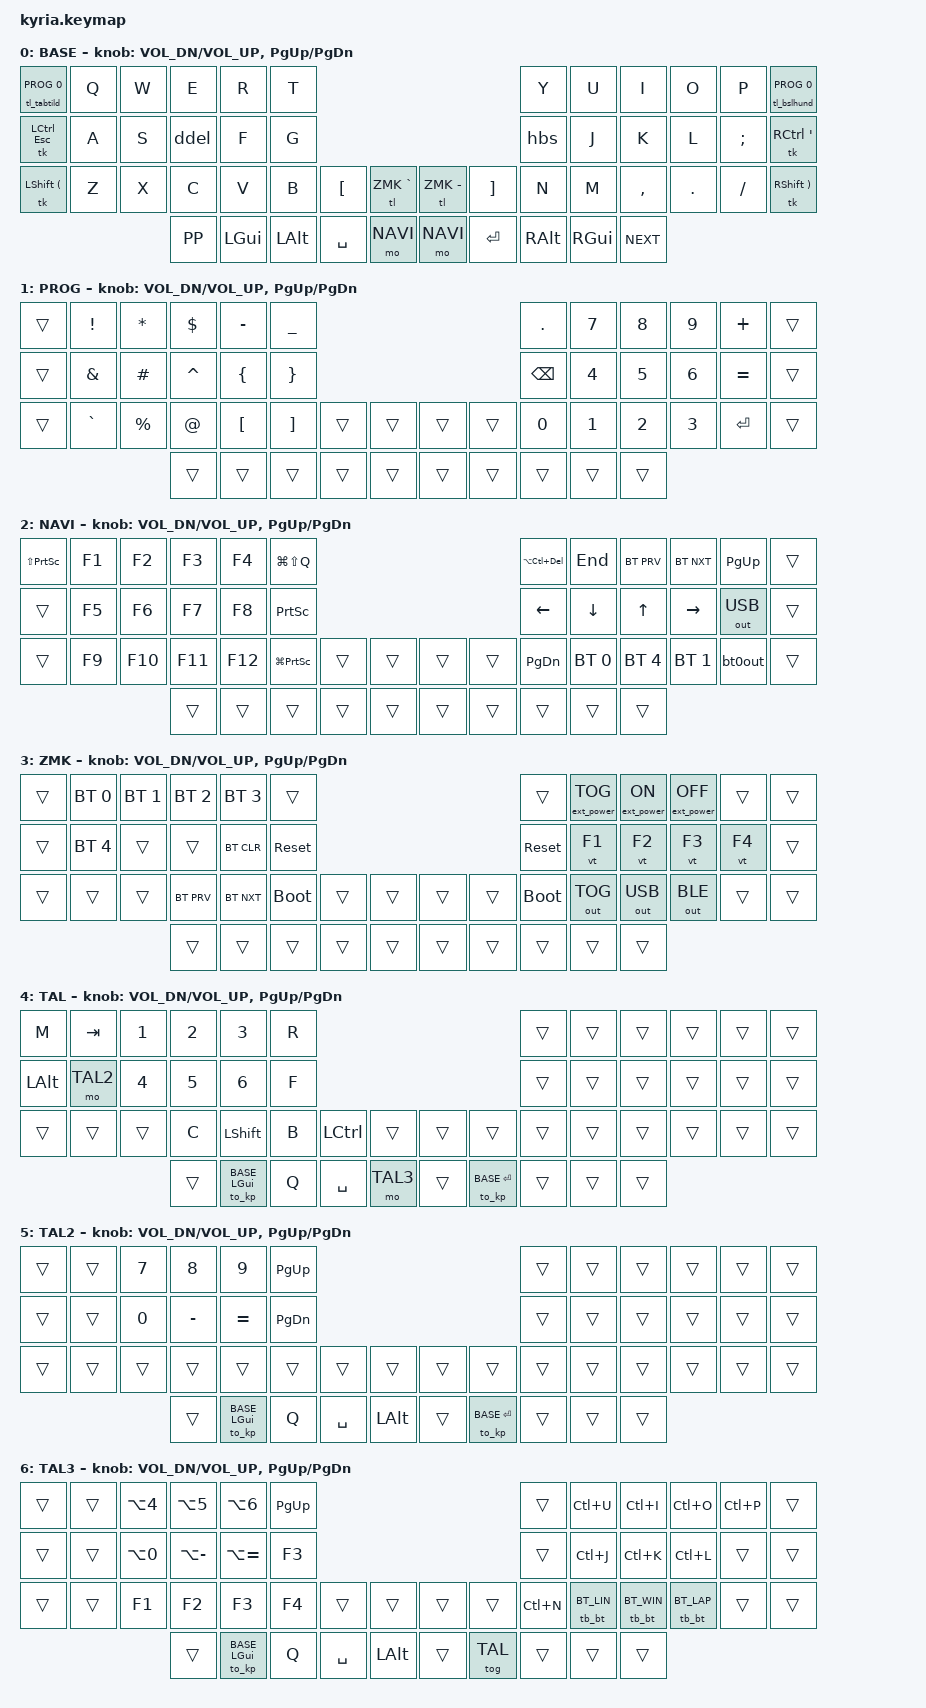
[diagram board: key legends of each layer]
/*
 * Copyright (c) 2020 The ZMK Contributors
 *
 * SPDX-License-Identifier: MIT
 */

#include <behaviors.dtsi>
#include <dt-bindings/zmk/bt.h>
#include <dt-bindings/zmk/ext_power.h>
#include <dt-bindings/zmk/keys.h>
#include <dt-bindings/zmk/outputs.h>
#include "macros.dtsi"

#define BASE 0
#define PROG 1
#define NAVI 2
#define ZMK  3
#define TAL  4
#define TAL2  5
#define TAL3  6

#define BT_LIN 0
#define BT_LAP 1
#define BT_WIN 4

#define KILL    LG(LS(Q))
#define ACD     LA(LC(DEL))
#define PSCR_SC LS(PSCRN)
#define PSCR_RT LG(PSCRN)

&sensors {
    triggers-per-rotation = <60>;
};

&caps_word {
    continue-list = <UNDERSCORE MINUS>;
};

//    ┌────┬────┬────┬────┬────┬────┐                       ┌────┬────┬────┬────┬────┬────┐
//    │ 0  │ 1  │ 2  │ 3  │ 4  │ 5  │                       │ 6  │ 7  │ 8  │ 9  │ 10 │ 11 │
//    ├────┼────┼────┼────┼────┼────┤                       ├────┼────┼────┼────┼────┼────┤
//    │ 12 │ 13 │ 14 │ 15 │ 16 │ 17 │                       │ 18 │ 19 │ 20 │ 21 │ 22 │ 23 │
//    ├────┼────┼────┼────┼────┼────┼────┬────┐   ┌────┬────┼────┼────┼────┼────┼────┼────┤
//    │ 24 │ 25 │ 26 │ 27 │ 28 │ 29 │ 30 │ 31 │   │ 32 │ 33 │ 34 │ 35 │ 36 │ 37 │ 38 │ 39 │
//    └────┴────┴────┼────┼────┼────┼────┼────┤   ├────┼────┼────┼────┼────┼────┴────┴────┘
//                   │ 40 │ 41 │ 42 │ 43 │ 44 │   │ 45 │ 46 │ 47 │ 48 │ 49 │
//                   └────┴────┴────┴────┴────┘   └────┴────┴────┴────┴────┘
/ {
    combos {
        compatible = "zmk,combos";
        // left and right parentheses `()`, when typing fast using left and right
        // shifts. Makes it hard to type )( but who would want that?
        combo_left_right_parens {
            timeout-ms = <150>;
            key-positions = <24 39>;
            bindings = <&lrpars>;
        };
        // tilde and forward slash `~/` - normaly you would nieed to use grave
        // combo with shift and then slash. We are skipping shift here
        combo_tilde_slash {
            timeout-ms = <250>;
            slow-release;
            key-positions = <0 12 38>;
            bindings = <&tildslh>;
        };
        // q; for `!=`
        combo_not_equal {
            timeout-ms = <50>;
            key-positions = <1 22>;
            bindings = <&notequal>;
        };
        // r. for `->`
        combo_arrow_gt {
            timeout-ms = <50>;
            key-positions = <4 37>;
            bindings = <&arrowgt>;
        };
        // r, for `<-`
        combo_arrow_lt {
            timeout-ms = <50>;
            key-positions = <4 36>;
            bindings = <&arrowlt>;
        };
        // e; for `:=`
        combo_colon_equal {
            timeout-ms = <50>;
            key-positions = <3 22>;
            bindings = <&coleql>;
        };
        // e. for `=>`
        combo_fat_arrow {
            timeout-ms = <50>;
            key-positions = <3 37>;
            bindings = <&fatarrow>;
        };
        // d. for `|>`
        combo_gt_pipe {
            timeout-ms = <50>;
            key-positions = <16 37>;
            bindings = <&pipegt>;
        };
        // f. for `<|`
        combo_lt_pipe {
            timeout-ms = <50>;
            key-positions = <16 36>;
            bindings = <&ltpipe>;
        };
        // left ctrl + right ctrl = caps word, not using shifts as they are
        // used to type parentheses
        combo_caps_word {
            timeout-ms = <150>;
            key-positions = <12 23>;
            bindings = <&caps_word>;
        };
        combo_lbkt_rbkt {
            timeout-ms = <150>;
            key-positions = <27 28>;
            layers = <PROG>;
            bindings = <&lrbkt>;
        };
        combo_lbrc_rbrc {
            timeout-ms = <150>;
            key-positions = <15 16>;
            layers = <PROG>;
            bindings = <&lrbrc>;
        };
        combo_tal_win {
            timeout-ms = <150>;
            key-positions = <0 5>;
            bindings = <&to_bt TAL BT_WIN>;
        };
        combo_tal_lin {
            timeout-ms = <150>;
            key-positions = <0 4>;
            bindings = <&to_bt TAL BT_LIN>;
        };
        combo_base {
            timeout-ms = <150>;
            key-positions = <0 17>;
            bindings = <&to BASE>;
        };
        combo_f15 {
            timeout-ms = <150>;
            key-positions = <19 20>;
            bindings = <&kp F15>;
        };
    };

    keymap {
        compatible = "zmk,keymap";

        BASE {
            bindings = <
//    ┌────────────┬───┬───┬───────┬──────┬──────┐                                 ┌──────┬──────┬──────┬───┬───┬──────────┐
//    │ PROG tab ~ │ Q │ W │   E   │  R   │  T   │                                 │  Y   │  U   │  I   │ O │ P │ PROG \ _ │
//    ├────────────┼───┼───┼───────┼──────┼──────┤                                 ├──────┼──────┼──────┼───┼───┼──────────┤
//    │  lctrl esc │ A │ S │ d/del │  F   │  G   │                                 │ h/bs │  J   │  K   │ L │ ; │  rctrl ' │
//    ├────────────┼───┼───┼───────┼──────┼──────┼─────┬────────┐   ┌────────┬─────┼──────┼──────┼──────┼───┼───┼──────────┤
//    │   lshft (  │ Z │ X │   C   │  V   │  B   │  [  │  ZMK ` │   │  ZMK - │  ]  │  N   │  M   │  ,   │ . │ / │  rshft ) │
//    └────────────┴───┴───┼───────┼──────┼──────┼─────┼────────┤   ├────────┼─────┼──────┼──────┼──────┼───┴───┴──────────┘
//                         │ mply  │ lgui │ lalt │ spc │  NAVI  │   │  NAVI  │ ret │ ralt │ rgui │ next │
//                         └───────┴──────┴──────┴─────┴────────┘   └────────┴─────┴──────┴──────┴──────┘
  &tl_tabtild PROG 0   &kp Q   &kp W   &kp E      &kp R      &kp T                                                                 &kp Y      &kp U      &kp I        &kp O     &kp P      &tl_bslhund PROG 0
  &tk LCTRL ESC        &kp A   &kp S   &ddel      &kp F      &kp G                                                                 &hbs       &kp J      &kp K        &kp L     &kp SEMI   &tk RCTRL SQT
  &tk LSHFT LPAR       &kp Z   &kp X   &kp C      &kp V      &kp B      &kp LBKT    &tl ZMK GRAVE       &tl ZMK MINUS   &kp RBKT   &kp N      &kp M      &kp COMMA    &kp DOT   &kp FSLH   &tk RSHFT RPAR
                                       &kp K_PP   &kp LGUI   &kp LALT   &kp SPACE   &mo NAVI            &mo NAVI        &kp RET    &kp RALT   &kp RGUI   &kp K_NEXT
            >;

            sensor-bindings = <&inc_dec_kp C_VOL_DN C_VOL_UP &inc_dec_kp PG_UP PG_DN>;
        };
        PROG {
            bindings = <
//    ┌────┬───┬───┬────┬────┬────┐                       ┌────┬────┬────┬───┬─────┬────┐
//    │    │ ! │ * │ $  │ -  │ _  │                       │ .  │ 7  │ 8  │ 9 │  +  │    │
//    ├────┼───┼───┼────┼────┼────┤                       ├────┼────┼────┼───┼─────┼────┤
//    │    │ & │ # │ ^  │ {  │ }  │                       │ bs │ 4  │ 5  │ 6 │  =  │    │
//    ├────┼───┼───┼────┼────┼────┼────┬────┐   ┌────┬────┼────┼────┼────┼───┼─────┼────┤
//    │    │ ` │ % │ @  │ [  │ ]  │    │    │   │    │    │ 0  │ 1  │ 2  │ 3 │ ret │    │
//    └────┴───┴───┼────┼────┼────┼────┼────┤   ├────┼────┼────┼────┼────┼───┴─────┴────┘
//                 │    │    │    │    │    │   │    │    │    │    │    │
//                 └────┴────┴────┴────┴────┘   └────┴────┴────┴────┴────┘
  &trans   &kp EXCL    &kp ASTRK   &kp DLLR    &kp MINUS   &kp UNDER                                           &kp DOT    &kp N7   &kp N8   &kp N9   &kp PLUS    &trans
  &trans   &kp AMPS    &kp HASH    &kp CARET   &kp LBRC    &kp RBRC                                            &kp BSPC   &kp N4   &kp N5   &kp N6   &kp EQUAL   &trans
  &trans   &kp GRAVE   &kp PRCNT   &kp AT      &kp LBKT    &kp RBKT    &trans   &trans       &trans   &trans   &kp N0     &kp N1   &kp N2   &kp N3   &kp RET     &trans
                                   &trans      &trans      &trans      &trans   &trans       &trans   &trans   &trans     &trans   &trans
            >;

            sensor-bindings = <&inc_dec_kp C_VOL_DN C_VOL_UP &inc_dec_kp PG_UP PG_DN>;
        };
        NAVI {
            bindings = <
//    ┌─────────┬────┬─────┬─────┬─────┬─────────┐                       ┌──────┬───────┬───────┬───────┬─────────┬────┐
//    │ PSCR_SC │ f1 │ f2  │ f3  │ f4  │  KILL   │                       │ ACD  │  end  │  prv  │  nxt  │  pgup   │    │
//    ├─────────┼────┼─────┼─────┼─────┼─────────┤                       ├──────┼───────┼───────┼───────┼─────────┼────┤
//    │         │ f5 │ f6  │ f7  │ f8  │  pscr   │                       │ left │ down  │  up   │ right │ out USB │    │
//    ├─────────┼────┼─────┼─────┼─────┼─────────┼────┬────┐   ┌────┬────┼──────┼───────┼───────┼───────┼─────────┼────┤
//    │         │ f9 │ f10 │ f11 │ f12 │ PSCR_RT │    │    │   │    │    │ pgdn │ bt> 0 │ bt> 4 │ bt> 1 │ &bt0out │    │
//    └─────────┴────┴─────┼─────┼─────┼─────────┼────┼────┤   ├────┼────┼──────┼───────┼───────┼───────┴─────────┴────┘
//                         │     │     │         │    │    │   │    │    │      │       │       │
//                         └─────┴─────┴─────────┴────┴────┘   └────┴────┴──────┴───────┴───────┘
  &kp PSCR_SC   &kp F1   &kp F2    &kp F3    &kp F4    &kp KILL                                              &kp ACD     &kp END        &bt BT_PRV     &bt BT_NXT     &kp PG_UP      &trans
  &trans        &kp F5   &kp F6    &kp F7    &kp F8    &kp PSCRN                                             &kp LEFT    &kp DOWN       &kp UP         &kp RIGHT      &out OUT_USB   &trans
  &trans        &kp F9   &kp F10   &kp F11   &kp F12   &kp PSCR_RT   &trans   &trans       &trans   &trans   &kp PG_DN   &bt BT_SEL 0   &bt BT_SEL 4   &bt BT_SEL 1   &bt0out        &trans
                                   &trans    &trans    &trans        &trans   &trans       &trans   &trans   &trans      &trans         &trans
            >;

            sensor-bindings = <&inc_dec_kp C_VOL_DN C_VOL_UP &inc_dec_kp PG_UP PG_DN>;
        };
        ZMK {
            bindings = <
//    ┌────┬───────┬───────┬───────┬───────┬───────┐                       ┌───────┬─────────┬─────────┬─────────┬─────┬────┐
//    │    │ bt> 0 │ bt> 1 │ bt> 2 │ bt> 3 │       │                       │       │ ep TOG  │  ep ON  │ ep OFF  │     │    │
//    ├────┼───────┼───────┼───────┼───────┼───────┤                       ├───────┼─────────┼─────────┼─────────┼─────┼────┤
//    │    │ bt> 4 │       │       │  clr  │ rsftT │                       │ rsftT │   VT1   │   VT2   │   VT3   │ VT4 │    │
//    ├────┼───────┼───────┼───────┼───────┼───────┼────┬────┐   ┌────┬────┼───────┼─────────┼─────────┼─────────┼─────┼────┤
//    │    │       │       │  prv  │  nxt  │ BOOT  │    │    │   │    │    │ BOOT  │ out TOG │ out USB │ out BLE │     │    │
//    └────┴───────┴───────┼───────┼───────┼───────┼────┼────┤   ├────┼────┼───────┼─────────┼─────────┼─────────┴─────┴────┘
//                         │       │       │       │    │    │   │    │    │       │         │         │
//                         └───────┴───────┴───────┴────┴────┘   └────┴────┴───────┴─────────┴─────────┘
  &trans   &bt BT_SEL 0   &bt BT_SEL 1   &bt BT_SEL 2   &bt BT_SEL 3   &trans                                                &trans        &ext_power EP_TOG   &ext_power EP_ON   &ext_power EP_OFF   &trans   &trans
  &trans   &bt BT_SEL 4   &trans         &trans         &bt BT_CLR     &sys_reset                                            &sys_reset    &vt F1              &vt F2             &vt F3              &vt F4   &trans
  &trans   &trans         &trans         &bt BT_PRV     &bt BT_NXT     &bootloader   &trans   &trans       &trans   &trans   &bootloader   &out OUT_TOG        &out OUT_USB       &out OUT_BLE        &trans   &trans
                                         &trans         &trans         &trans        &trans   &trans       &trans   &trans   &trans        &trans              &trans
            >;
            sensor-bindings = <&inc_dec_kp C_VOL_DN C_VOL_UP &inc_dec_kp PG_UP PG_DN>;
        };
        TAL {
            bindings = <
//    ┌──────┬──────┬────┬────┬───────────┬───┐                                  ┌────┬────┬────┬────┬────┬────┐
//    │  M   │ tab  │ 1  │ 2  │     3     │ R │                                  │    │    │    │    │    │    │
//    ├──────┼──────┼────┼────┼───────────┼───┤                                  ├────┼────┼────┼────┼────┼────┤
//    │ lalt │ TAL2 │ 4  │ 5  │     6     │ F │                                  │    │    │    │    │    │    │
//    ├──────┼──────┼────┼────┼───────────┼───┼───────┬──────┐   ┌────┬──────────┼────┼────┼────┼────┼────┼────┤
//    │      │      │    │ C  │   lshft   │ B │ lctrl │      │   │    │          │    │    │    │    │    │    │
//    └──────┴──────┴────┼────┼───────────┼───┼───────┼──────┤   ├────┼──────────┼────┼────┼────┼────┴────┴────┘
//                       │    │ BASE lgui │ Q │  spc  │ TAL3 │   │    │ BASE ent │    │    │    │
//                       └────┴───────────┴───┴───────┴──────┘   └────┴──────────┴────┴────┴────┘
  &kp M      &kp TAB    &kp N1   &kp N2   &kp N3             &kp R                                                           &trans   &trans   &trans   &trans   &trans   &trans
  &kp LALT   &mo TAL2   &kp N4   &kp N5   &kp N6             &kp F                                                           &trans   &trans   &trans   &trans   &trans   &trans
  &trans     &trans     &trans   &kp C    &kp LSHFT          &kp B   &kp LCTRL   &trans         &trans   &trans              &trans   &trans   &trans   &trans   &trans   &trans
                                 &trans   &to_kp BASE LGUI   &kp Q   &kp SPACE   &mo TAL3       &trans   &to_kp BASE ENTER   &trans   &trans   &trans
            >;
            sensor-bindings = <&inc_dec_kp C_VOL_DN C_VOL_UP &inc_dec_kp PG_UP PG_DN>;
        };
        TAL2 {
            bindings = <
//    ┌────┬────┬────┬────┬───────────┬──────┐                                ┌────┬────┬────┬────┬────┬────┐
//    │    │    │ 7  │ 8  │     9     │ pgup │                                │    │    │    │    │    │    │
//    ├────┼────┼────┼────┼───────────┼──────┤                                ├────┼────┼────┼────┼────┼────┤
//    │    │    │ 0  │ -  │     =     │ pgdn │                                │    │    │    │    │    │    │
//    ├────┼────┼────┼────┼───────────┼──────┼─────┬──────┐   ┌────┬──────────┼────┼────┼────┼────┼────┼────┤
//    │    │    │    │    │           │      │     │      │   │    │          │    │    │    │    │    │    │
//    └────┴────┴────┼────┼───────────┼──────┼─────┼──────┤   ├────┼──────────┼────┼────┼────┼────┴────┴────┘
//                   │    │ BASE lgui │  Q   │ spc │ lalt │   │    │ BASE ent │    │    │    │
//                   └────┴───────────┴──────┴─────┴──────┘   └────┴──────────┴────┴────┴────┘
  &trans   &trans   &kp N7   &kp N8      &kp N9             &kp PG_UP                                                           &trans   &trans   &trans   &trans   &trans   &trans
  &trans   &trans   &kp N0   &kp MINUS   &kp EQUAL          &kp PG_DN                                                           &trans   &trans   &trans   &trans   &trans   &trans
  &trans   &trans   &trans   &trans      &trans             &trans      &trans      &trans         &trans   &trans              &trans   &trans   &trans   &trans   &trans   &trans
                             &trans      &to_kp BASE LGUI   &kp Q       &kp SPACE   &kp LALT       &trans   &to_kp BASE ENTER   &trans   &trans   &trans
            >;
            sensor-bindings = <&inc_dec_kp C_VOL_DN C_VOL_UP &inc_dec_kp PG_UP PG_DN>;
        };
        TAL3 {
            bindings = <
//    ┌────┬────┬─────────┬─────────┬───────────┬──────┐                               ┌─────────┬─────────┬─────────┬─────────┬─────────┬────┐
//    │    │    │ lalt(4) │ lalt(5) │  lalt(6)  │ pgup │                               │         │ lctl(U) │ lctl(I) │ lctl(O) │ lctl(P) │    │
//    ├────┼────┼─────────┼─────────┼───────────┼──────┤                               ├─────────┼─────────┼─────────┼─────────┼─────────┼────┤
//    │    │    │ lalt(0) │ lalt(-) │  lalt(=)  │  f3  │                               │         │ lctl(J) │ lctl(K) │ lctl(L) │         │    │
//    ├────┼────┼─────────┼─────────┼───────────┼──────┼─────┬──────┐   ┌────┬─────────┼─────────┼─────────┼─────────┼─────────┼─────────┼────┤
//    │    │    │   f1    │   f2    │    f3     │  f4  │     │      │   │    │         │ lctl(N) │  B>lin  │  B>win  │  B>lap  │         │    │
//    └────┴────┴─────────┼─────────┼───────────┼──────┼─────┼──────┤   ├────┼─────────┼─────────┼─────────┼─────────┼─────────┴─────────┴────┘
//                        │         │ BASE lgui │  Q   │ spc │ lalt │   │    │ tog TAL │         │         │         │
//                        └─────────┴───────────┴──────┴─────┴──────┘   └────┴─────────┴─────────┴─────────┴─────────┘
  &trans   &trans   &kp LA(N4)   &kp LA(N5)      &kp LA(N6)         &kp PG_UP                                                  &trans      &kp LC(U)       &kp LC(I)       &kp LC(O)       &kp LC(P)   &trans
  &trans   &trans   &kp LA(N0)   &kp LA(MINUS)   &kp LA(EQUAL)      &kp F3                                                     &trans      &kp LC(J)       &kp LC(K)       &kp LC(L)       &trans      &trans
  &trans   &trans   &kp F1       &kp F2          &kp F3             &kp F4      &trans      &trans         &trans   &trans     &kp LC(N)   &tb_bt BT_LIN   &tb_bt BT_WIN   &tb_bt BT_LAP   &trans      &trans
                                 &trans          &to_kp BASE LGUI   &kp Q       &kp SPACE   &kp LALT       &trans   &tog TAL   &trans      &trans          &trans
            >;
            sensor-bindings = <&inc_dec_kp C_VOL_DN C_VOL_UP &inc_dec_kp PG_UP PG_DN>;
        };
    };
};
